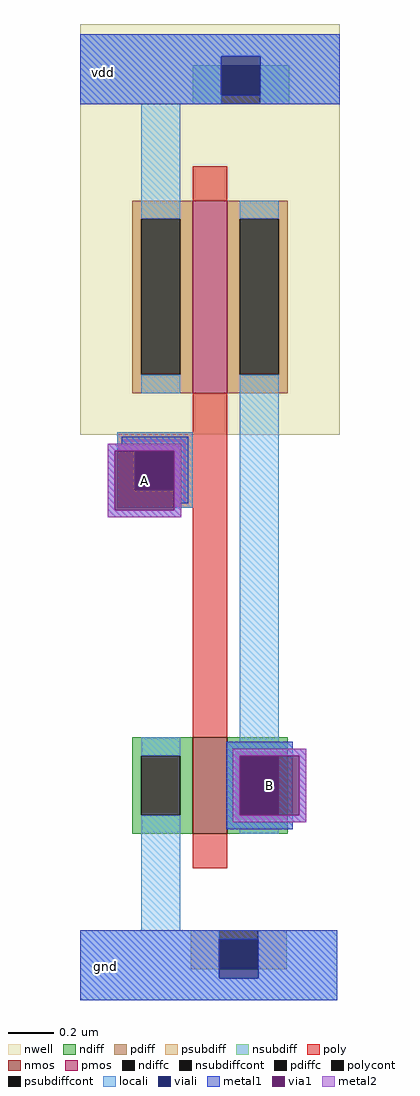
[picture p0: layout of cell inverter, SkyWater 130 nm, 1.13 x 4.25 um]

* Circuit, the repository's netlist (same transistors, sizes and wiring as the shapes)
* NGSPICE file created from inverter.ext - technology: sky130A

.subckt inverter A B gnd vdd
X0 B A gnd gnd sky130_fd_pr__nfet_01v8 ad=0.111 pd=1.37 as=0.111 ps=1.37 w=0.42 l=0.15
X1 B A vdd vdd sky130_fd_pr__pfet_01v8 ad=0.223 pd=2.21 as=0.223 ps=2.21 w=0.84 l=0.15
.ends

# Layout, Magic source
magic
tech sky130A
magscale 1 2
<< nwell >>
rect -98 348 128 706
<< nmos >>
rect 0 0 30 84
<< pmos >>
rect 0 384 30 552
<< ndiff >>
rect -53 68 0 84
rect -53 16 -45 68
rect -11 16 0 68
rect -53 0 0 16
rect 30 68 83 84
rect 30 16 41 68
rect 75 16 83 68
rect 30 0 83 16
<< pdiff >>
rect -53 536 0 552
rect -53 400 -45 536
rect -11 400 0 536
rect -53 384 0 400
rect 30 536 83 552
rect 30 400 41 536
rect 75 400 83 536
rect 30 384 83 400
<< ndiffc >>
rect -45 16 -11 68
rect 41 16 75 68
<< pdiffc >>
rect -45 400 -11 536
rect 41 400 75 536
<< psubdiff >>
rect -2 -118 23 -84
rect 57 -118 82 -84
<< nsubdiff >>
rect 0 636 25 670
rect 59 636 84 670
<< psubdiffcont >>
rect 23 -118 57 -84
<< nsubdiffcont >>
rect 25 636 59 670
<< poly >>
rect 0 552 30 582
rect 0 350 30 384
rect -66 334 30 350
rect -66 300 -50 334
rect -16 300 30 334
rect -66 284 30 300
rect 0 84 30 284
rect 0 -30 30 0
<< polycont >>
rect -50 300 -16 334
<< locali >>
rect -98 678 128 697
rect -98 636 25 678
rect 59 636 128 678
rect -45 536 -11 636
rect -45 384 -11 400
rect 41 536 75 552
rect -66 334 0 350
rect -66 300 -50 334
rect -16 300 0 334
rect -66 284 0 300
rect -45 68 -11 84
rect 41 80 75 400
rect -45 -84 -11 16
rect 29 68 87 80
rect 29 16 41 68
rect 75 16 87 68
rect 29 4 87 16
rect 41 0 75 4
rect -98 -126 23 -84
rect 57 -126 126 -84
rect -98 -145 126 -126
<< viali >>
rect 25 670 59 678
rect 25 644 59 670
rect -50 300 -16 334
rect 41 16 75 68
rect 23 -118 57 -92
rect 23 -126 57 -118
<< metal1 >>
rect -98 678 128 697
rect -98 644 25 678
rect 59 644 128 678
rect -98 636 128 644
rect -62 340 -4 346
rect -74 334 -4 340
rect -74 282 -68 334
rect -16 288 -4 334
rect -16 282 -10 288
rect -74 276 -10 282
rect 29 74 87 80
rect 29 68 99 74
rect 29 16 41 68
rect 93 16 99 68
rect 29 10 99 16
rect 29 4 87 10
rect -98 -92 126 -84
rect -98 -126 23 -92
rect 57 -126 126 -92
rect -98 -145 126 -126
<< via1 >>
rect -68 300 -50 334
rect -50 300 -16 334
rect -68 282 -16 300
rect 41 16 75 68
rect 75 16 93 68
<< metal2 >>
rect -74 334 -10 340
rect -74 282 -68 334
rect -16 282 -10 334
rect -74 276 -10 282
rect 35 68 99 74
rect 35 16 41 68
rect 93 16 99 68
rect 35 10 99 16
<< labels >>
rlabel via1 -42 308 -42 308 5 A
port 1 s
rlabel via1 67 42 67 42 5 B
port 2 s
rlabel metal1 -78 664 -78 664 5 vdd
port 4 s
rlabel metal1 -76 -116 -76 -116 5 gnd
port 3 s
<< end >>
